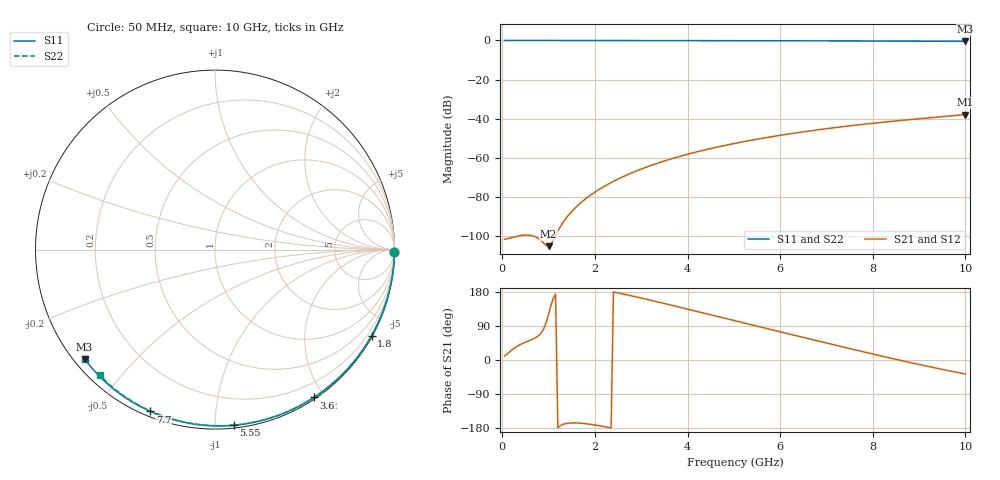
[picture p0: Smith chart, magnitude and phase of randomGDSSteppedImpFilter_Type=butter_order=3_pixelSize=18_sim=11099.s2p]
! freq	dB(S11)	phase(S11)	dB(S12)	phase(S12)
!  dB(S21)	phase(S21)	dB(S22)	phase(S22)
!S-par simulation data
#  GHz  S  DB  R 50
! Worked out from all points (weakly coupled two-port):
!   200 points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, 50 MHz to 10 GHz, reference 50 ohm
!   highest |S21| = -37.87 dB at 10 GHz (marker M1); lowest = -105.2 dB at 1 GHz (marker M2)
!   lowest |S11| = -0.5 dB at 10 GHz (marker M3), VSWR 37.81, Z = 1.5 - j18.2 ohm
!   |S11| at or under -10 dB: nowhere
!   |S22| runs from -0.4 to 0.0 dB; largest |S21 - S12| = 0
!   S11 on the Smith chart (normalised r, x): 50 MHz: open; 1.8 GHz: 0.03, -3.89; 3.6 GHz: 0.02, -1.87; 5.55 GHz: 0.02, -1.11; 7.7 GHz: 0.02, -0.68; 10 GHz: 0.03, -0.36
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0.05  -0.00 -0.8  -101.59 10.6  -101.59 10.6  -0.00 -0.8
0.5  -0.01 -8.1  -99.44 46.9  -99.44 46.9  -0.01 -7.6
1  -0.02 -16.1  -105.17 120.7  -105.17 120.7  -0.02 -15.2
1.75  -0.04 -28.0  -81.88 -167.4  -81.88 -167.4  -0.03 -26.4
1.8  -0.04 -28.8  -80.93 -168.1  -80.93 -168.1  -0.03 -27.1
1.85  -0.04 -29.6  -80.03 -168.8  -80.03 -168.8  -0.04 -27.8
2.15  -0.04 -34.3  -75.31 -174.6  -75.31 -174.6  -0.04 -32.2
2.35  -0.05 -37.4  -72.65 -179.2  -72.65 -179.2  -0.04 -35.2
2.55  -0.05 -40.4  -70.28 175.8  -70.28 175.8  -0.05 -38.1
2.95  -0.06 -46.5  -66.20 165.0  -66.20 165.0  -0.06 -43.8
3.4  -0.07 -53.3  -62.38 152.0  -62.38 152.0  -0.07 -50.2
3.6  -0.08 -56.2  -60.88 146.2  -60.88 146.2  -0.07 -53.0
3.9  -0.08 -60.6  -58.82 137.2  -58.82 137.2  -0.08 -57.1
4.3  -0.09 -66.4  -56.38 125.3  -56.38 125.3  -0.09 -62.6
5.05  -0.12 -76.9  -52.49 102.8  -52.49 102.8  -0.11 -72.6
5.55  -0.14 -83.8  -50.29 87.8  -50.29 87.8  -0.13 -79.1
6.1  -0.16 -91.2  -48.13 71.4  -48.13 71.4  -0.15 -86.2
6.7  -0.19 -99.0  -46.05 53.6  -46.05 53.6  -0.18 -93.6
7.7  -0.26 -111.8  -43.12 24.3  -43.12 24.3  -0.24 -105.7
8.35  -0.31 -119.9  -41.50 5.8  -41.50 5.8  -0.29 -113.4
9.2  -0.38 -130.3  -39.61 -17.1  -39.61 -17.1  -0.36 -123.2
10  -0.46 -140.0  -37.87 -37.0  -37.87 -37.0  -0.45 -132.5
